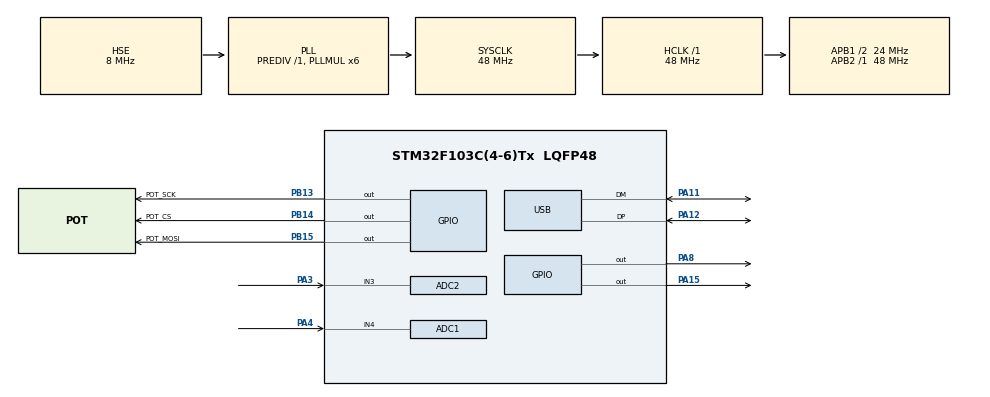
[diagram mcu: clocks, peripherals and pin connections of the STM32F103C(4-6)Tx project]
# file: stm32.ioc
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ADC1.Channel-4\#ChannelRegularConversion=ADC_CHANNEL_4
ADC1.NbrOfConversionFlag=1
ADC1.Rank-4\#ChannelRegularConversion=1
ADC1.SamplingTime-4\#ChannelRegularConversion=ADC_SAMPLETIME_239CYCLES_5
ADC1.master=1
ADC2.Channel-0\#ChannelRegularConversion=ADC_CHANNEL_3
ADC2.NbrOfConversionFlag=1
ADC2.Rank-0\#ChannelRegularConversion=1
ADC2.SamplingTime-0\#ChannelRegularConversion=ADC_SAMPLETIME_239CYCLES_5
Mcu.Family=STM32F1
Mcu.Name=STM32F103C(4-6)Tx
Mcu.Package=LQFP48
NVIC.PriorityGroup=NVIC_PRIORITYGROUP_4
NVIC.TIM3_IRQn=true\:0\:0\:false\:false\:true\:true\:true\:true
NVIC.USB_LP_CAN1_RX0_IRQn=true\:0\:0\:false\:false\:true\:false\:true\:true
NimaLTD.I-CUBE-EE.3.2.2.DriverJjEE=true
PA11.Mode=Device
PA11.Signal=USB_DM
PA12.Mode=Device
PA12.Signal=USB_DP
PA13.Mode=Serial_Wire
PA13.Signal=SYS_JTMS-SWDIO
PA14.Mode=Serial_Wire
PA14.Signal=SYS_JTCK-SWCLK
PA15.PinState=GPIO_PIN_SET
PA15.Signal=GPIO_Output
PA3.Signal=ADCx_IN3
PA4.Signal=ADCx_IN4
PA8.PinState=GPIO_PIN_SET
PA8.Signal=GPIO_Output
PB13.GPIO_Label=POT_SCK
PB13.GPIO_Speed=GPIO_SPEED_FREQ_HIGH
PB13.PinState=GPIO_PIN_RESET
PB13.Signal=GPIO_Output
PB14.GPIO_Label=POT_CS
PB14.GPIO_Speed=GPIO_SPEED_FREQ_HIGH
PB14.PinState=GPIO_PIN_RESET
PB14.Signal=GPIO_Output
PB15.GPIO_Label=POT_MOSI
PB15.GPIO_Speed=GPIO_SPEED_FREQ_HIGH
PB15.PinState=GPIO_PIN_RESET
PB15.Signal=GPIO_Output
PD0-OSC_IN.Mode=HSE-External-Oscillator
PD0-OSC_IN.Signal=RCC_OSC_IN
PD1-OSC_OUT.Mode=HSE-External-Oscillator
PD1-OSC_OUT.Signal=RCC_OSC_OUT
ProjectManager.HeapSize=0x200
ProjectManager.StackSize=0x400
ProjectManager.TargetToolchain=STM32CubeIDE
RCC.ADCPresc=RCC_ADCPCLK2_DIV4
RCC.AHBFreq_Value=48000000
RCC.APB1CLKDivider=RCC_HCLK_DIV2
RCC.APB1Freq_Value=24000000
RCC.APB1TimFreq_Value=48000000
RCC.APB2Freq_Value=48000000
RCC.APB2TimFreq_Value=48000000
RCC.HCLKFreq_Value=48000000
RCC.PLLMUL=RCC_PLL_MUL6
RCC.SYSCLKFreq_VALUE=48000000
RCC.SYSCLKSource=RCC_SYSCLKSOURCE_PLLCLK
RCC.USBFreq_Value=48000000
SH.ADCx_IN3.0=ADC2_IN3,IN3
SH.ADCx_IN4.0=ADC1_IN4,IN4
TIM3.Period=47999
USB_DEVICE.CLASS_NAME_FS=CDC
USB_DEVICE.VirtualMode=Cdc
USB_DEVICE.VirtualModeFS=Cdc_FS
VP_NimaLTD.I-CUBE-EE_VS_DriverJjEE_1.0.0_3.2.2.Mode=DriverJjEE
VP_TIM3_VS_ClockSourceINT.Mode=Internal
VP_USB_DEVICE_VS_USB_DEVICE_CDC_FS.Mode=CDC_FS
board=custom

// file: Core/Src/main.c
/* USER CODE BEGIN Header */
/**
  ******************************************************************************
  * @file           : main.c
  * @brief          : Main program body
  ******************************************************************************
  * @attention
  *
  * Copyright (c) 2026 STMicroelectronics.
  * All rights reserved.
  *
  * This software is licensed under terms that can be found in the LICENSE file
  * in the root directory of this software component.
  * If no LICENSE file comes with this software, it is provided AS-IS.
  *
  ******************************************************************************
  */
/* USER CODE END Header */
#include "main.h"
#include "usb_device.h"

/* USER CODE BEGIN Includes */
#include "usbd_cdc_if.h"
#include "ee.h"
/* USER CODE END Includes */

/* USER CODE BEGIN PTD */
typedef enum {
    SET_OK = 0,
    SET_ERR_TOO_LOW,     // ниже физического минимума платы
    SET_ERR_TOO_HIGH,    // выше физического максимума платы
	SET_ERR_NO_VOLTAGE,		// для напряжения v < 1.0f
    SET_ERR_NO_LOAD       // для тока: I_out1 = 0, сопротивление нагрузки неизвестно
} SetResult_t;

typedef struct {
    float Kp;             // Пропорциональный коэффициент
    float Ki;             // Интегральный коэффициент
    float Kd;             // Дифференциальный коэффициент
    float integrator;     // Накопленная интегральная сумма
    float prev_error;     // Ошибка на предыдущем шаге
    float dt;             // Шаг дискретизации в секундах (ADJUST_INTERVAL_MS / 1000.0)
    float out_min;        // Минимальное ограничение выхода (0.0)
    // Максимальное ограничение выхода (255.0)
    float out_max;
} PID_Controller_t;

#define EE_MAGIC_VALID   0xCAFEBABE   // маркер "данные во flash валидны"

typedef struct {
    uint32_t magic;
    float    voltage_k;
    float    voltage_b;
    float    current_k;
    float    current_b;

    float pid_Kp;
    float pid_Ki;
    float pid_Kd;

    float pid_i_Kp;
    float pid_i_Ki;
    float pid_i_Kd;
} eeStorage_t;

typedef enum {
    REG_NONE = 0,
    REG_VOLTAGE,
    REG_CURRENT
} RegMode_t;

/* USER CODE END PTD */

/* USER CODE BEGIN PD */

//#define POT_STEP            1       // на сколько единиц кода двигаем за один шаг
#define ADJUST_INTERVAL_MS  50     	// как часто подстраиваем (мс)
#define MAX_CAL_POINTS      20		//количество точек для калибровки
#define DIGIT_AFTER_FLOAT   3		//количество знаков посля запятой для вывода

/* USER CODE END PD */

ADC_HandleTypeDef hadc1;
ADC_HandleTypeDef hadc2;
TIM_HandleTypeDef htim3;

/* USER CODE BEGIN PV */
volatile float target_voltage_g = 0.0f;
volatile float target_current_g = 0.0f;
uint8_t current_pot_code = 255;

volatile RegMode_t reg_mode = REG_NONE;

volatile float base_voltage_feedforward = 0.0f;

volatile uint32_t system_ms_ticks   = 0;   // инкрементируется в IRQ каждую 1мс
volatile uint8_t  flag_measure      = 0;   // выставляется в IRQ
volatile uint8_t  flag_report       = 0;   // выставляется в IRQ

// Последние измеренные значения (кэш, чтобы report не делал повторный ADC-опрос)
volatile float last_vsw = 0.0f;
volatile float last_vcu = 0.0f;

float g_voltage_k = 0.9943f;
float g_voltage_b = -0.1782f;
float g_current_k = 0.882f;
float g_current_b = 0.0116f;

eeStorage_t ee_storage = {
    .magic = EE_MAGIC_VALID,
    .voltage_k = 0.9943f,
    .voltage_b = -0.1782f,
    .current_k = 0.882f,
    .current_b = 0.0116f,

    .pid_Kp = 8.0f,
    .pid_Ki = 5.0f,
    .pid_Kd = 0.05f,

    .pid_i_Kp = 4.5f,
    .pid_i_Ki = 6.0f,
    .pid_i_Kd = 0.0f
};

typedef enum {
    CAL_MODE_NONE = 0,
    CAL_MODE_VOLTAGE,
    CAL_MODE_CURRENT
} CalMode_t;

volatile CalMode_t cal_mode = CAL_MODE_NONE;

float   cal_prog_points[MAX_CAL_POINTS];  // измеренные (некалиброванные) значения
float   cal_real_points[MAX_CAL_POINTS];  // эталонные значения от пользователя
uint8_t cal_point_count = 0;

uint8_t g_calibrated = 0;

volatile uint8_t  debug_output_enabled = 0;      // по умолчанию ВЫКЛ
volatile uint32_t debug_report_interval_ms = 1000; // по умолчанию 1 секунда

PID_Controller_t pid_v;
// Стартовые коэффициенты экспериментально
float pid_Kp = 8.0f;
float pid_Ki = 5.0f;
float pid_Kd = 0.05f;

PID_Controller_t pid_i;

float pid_i_Kp = 4.5f;
float pid_i_Ki = 6.0f;
float pid_i_Kd = 0.0f;

/* USER CODE END PV */

void SystemClock_Config(void);
static void MX_GPIO_Init(void);
static void MX_ADC1_Init(void);
static void MX_ADC2_Init(void);
static void MX_TIM3_Init(void);
/* USER CODE BEGIN PFP */
//float ReadVSW_Voltage(void);
float ReadVSW_Voltage_Avg(uint8_t samples);
float ReadVSW_Current_Avg(uint8_t samples);
void SoftSPI_WriteByte(uint8_t data);
void MCP41010_SetWiper(uint8_t value);
void FloatToStr(float value, char *buf, uint8_t decimals);
uint8_t UIntToStr(uint32_t value, char *buf);
void Regulation_Step(void);

void    Startup_ReferenceCalibration(void);      // одноразовая калибровка при старте

SetResult_t ComputeCodeForVoltage(float target_voltage, uint8_t *out_code); // чистый расчёт, без ADC/SPI
SetResult_t SetTargetVoltage(float target_voltage);  // применяется из USB-команды
SetResult_t SetTargetCurrent(float target_current);

void SendVoltageNow(void);   // формирует и шлёт "V=xx.xxxxx\r\n" немедленно
void SendCurrentNow(void);   // формирует и шлёт "I=xx.xxxxx\r\n" немедленно
void SendReportNow(void);    // формирует и шлёт "V=.. I=.." (общая телеметрия)

void    CalStart_Voltage(void);
void    CalStart_Current(void);
uint8_t CalAddPoint_Voltage(float real_value);
uint8_t CalAddPoint_Current(float real_value);
uint8_t CalStop_AndCompute(char *resp, uint8_t *resp_len); // 1=успех, 0=ошибка

void SaveCoefficientsToFlash(void);
void LoadCoefficientsFromFlash(void);

void PrintSavedVoltageCoefficients(void);
void PrintSavedCurrentCoefficients(void);

float PID_Compute(PID_Controller_t *pid, float error, float current_output);
/* USER CODE END PFP */

int main(void)
{

  /* MCU Configuration--------------------------------------------------------*/

  /* Reset of all peripherals, Initializes the Flash interface and the Systick. */
  HAL_Init();

  /* Configure the system clock */
  SystemClock_Config();

  /* Initialize all configured peripherals */
  MX_GPIO_Init();
  MX_ADC1_Init();
  MX_ADC2_Init();
  MX_USB_DEVICE_Init();
  MX_TIM3_Init();
  /* USER CODE BEGIN 2 */
  HAL_ADCEx_Calibration_Start(&hadc1);
  HAL_GPIO_WritePin(GPIOA, GPIO_PIN_8, GPIO_PIN_SET);
  HAL_TIM_Base_Start_IT(&htim3);   // ЗАПУСК прерывания таймера - без этого callback не будет вызываться

  EE_Init(&ee_storage, sizeof(eeStorage_t));   // ОБЯЗАТЕЛЬНО до первого EE_Read/EE_Write
  LoadCoefficientsFromFlash();                  // подхватываем сохранённую калибровку, если есть

  Startup_ReferenceCalibration();

  pid_v.Kp = ee_storage.pid_Kp;
  pid_v.Ki = ee_storage.pid_Ki;
  pid_v.Kd = ee_storage.pid_Kd;
  pid_v.dt = (float)ADJUST_INTERVAL_MS / 1000.0f; // Переводим мс в секунды (0.05s)
  pid_v.integrator = 0.0f;
  pid_v.prev_error = 0.0f;
  pid_v.out_min = 0.0f;
  pid_v.out_max = 255.0f;

  pid_i.Kp = ee_storage.pid_i_Kp;
  pid_i.Ki = ee_storage.pid_i_Ki;
  pid_i.Kd = ee_storage.pid_i_Kd;
  pid_i.dt = (float)ADJUST_INTERVAL_MS / 1000.0f;
  pid_i.integrator = 0.0f;
  pid_i.prev_error = 0.0f;
  pid_i.out_min = 0.0f;
  pid_i.out_max = 255.0f;

  /* USER CODE END 2 */

  /* Infinite loop */
  /* USER CODE BEGIN WHILE */
  while (1)
  {
	  // --- Флаг измерения/регулировки (каждые ADJUST_INTERVAL_MS) ---
	  if (flag_measure)
	  {
		  flag_measure = 0;

		  last_vsw = ReadVSW_Voltage_Avg(32);
		  last_vcu = ReadVSW_Current_Avg(32);

		  // Регулируем, только если сейчас НЕ идёт разовая калибровка
		  Regulation_Step();

	  }

	  // --- Флаг вывода в консоль (раз в 1000 мс) ---
	  if (flag_report)
	  {
		  flag_report = 0;

		  SendReportNow();
	  }

    /* USER CODE END WHILE */

  }
}

void SystemClock_Config(void)
{
  RCC_OscInitTypeDef RCC_OscInitStruct = {0};
  RCC_ClkInitTypeDef RCC_ClkInitStruct = {0};
  RCC_PeriphCLKInitTypeDef PeriphClkInit = {0};

  /** Initializes the RCC Oscillators according to the specified parameters
  * in the RCC_OscInitTypeDef structure.
  */
  RCC_OscInitStruct.OscillatorType = RCC_OSCILLATORTYPE_HSE;
  RCC_OscInitStruct.HSEState = RCC_HSE_ON;
  RCC_OscInitStruct.HSEPredivValue = RCC_HSE_PREDIV_DIV1;
  RCC_OscInitStruct.HSIState = RCC_HSI_ON;
  RCC_OscInitStruct.PLL.PLLState = RCC_PLL_ON;
  RCC_OscInitStruct.PLL.PLLSource = RCC_PLLSOURCE_HSE;
  RCC_OscInitStruct.PLL.PLLMUL = RCC_PLL_MUL6;
  if (HAL_RCC_OscConfig(&RCC_OscInitStruct) != HAL_OK)
  {
    Error_Handler();
  }

  /** Initializes the CPU, AHB and APB buses clocks
  */
  RCC_ClkInitStruct.ClockType = RCC_CLOCKTYPE_HCLK|RCC_CLOCKTYPE_SYSCLK
                              |RCC_CLOCKTYPE_PCLK1|RCC_CLOCKTYPE_PCLK2;
  RCC_ClkInitStruct.SYSCLKSource = RCC_SYSCLKSOURCE_PLLCLK;
  RCC_ClkInitStruct.AHBCLKDivider = RCC_SYSCLK_DIV1;
  RCC_ClkInitStruct.APB1CLKDivider = RCC_HCLK_DIV2;
  RCC_ClkInitStruct.APB2CLKDivider = RCC_HCLK_DIV1;

  if (HAL_RCC_ClockConfig(&RCC_ClkInitStruct, FLASH_LATENCY_1) != HAL_OK)
  {
    Error_Handler();
  }
  PeriphClkInit.PeriphClockSelection = RCC_PERIPHCLK_ADC|RCC_PERIPHCLK_USB;
  PeriphClkInit.AdcClockSelection = RCC_ADCPCLK2_DIV4;
  PeriphClkInit.UsbClockSelection = RCC_USBCLKSOURCE_PLL;
  if (HAL_RCCEx_PeriphCLKConfig(&PeriphClkInit) != HAL_OK)
  {
    Error_Handler();
  }
}

static void MX_ADC1_Init(void)
{

  ADC_ChannelConfTypeDef sConfig = {0};

  /** Common config
  */
  hadc1.Instance = ADC1;
  hadc1.Init.ScanConvMode = ADC_SCAN_DISABLE;
  hadc1.Init.ContinuousConvMode = DISABLE;
  hadc1.Init.DiscontinuousConvMode = DISABLE;
  hadc1.Init.ExternalTrigConv = ADC_SOFTWARE_START;
  hadc1.Init.DataAlign = ADC_DATAALIGN_RIGHT;
  hadc1.Init.NbrOfConversion = 1;
  if (HAL_ADC_Init(&hadc1) != HAL_OK)
  {
    Error_Handler();
  }

  /** Configure Regular Channel
  */
  sConfig.Channel = ADC_CHANNEL_4;
  sConfig.Rank = ADC_REGULAR_RANK_1;
  sConfig.SamplingTime = ADC_SAMPLETIME_239CYCLES_5;
  if (HAL_ADC_ConfigChannel(&hadc1, &sConfig) != HAL_OK)
  {
    Error_Handler();
  }

}

static void MX_ADC2_Init(void)
{

  ADC_ChannelConfTypeDef sConfig = {0};

  /** Common config
  */
  hadc2.Instance = ADC2;
  hadc2.Init.ScanConvMode = ADC_SCAN_DISABLE;
  hadc2.Init.ContinuousConvMode = DISABLE;
  hadc2.Init.DiscontinuousConvMode = DISABLE;
  hadc2.Init.ExternalTrigConv = ADC_SOFTWARE_START;
  hadc2.Init.DataAlign = ADC_DATAALIGN_RIGHT;
  hadc2.Init.NbrOfConversion = 1;
  if (HAL_ADC_Init(&hadc2) != HAL_OK)
  {
    Error_Handler();
  }

  /** Configure Regular Channel
  */
  sConfig.Channel = ADC_CHANNEL_3;
  sConfig.Rank = ADC_REGULAR_RANK_1;
  sConfig.SamplingTime = ADC_SAMPLETIME_239CYCLES_5;
  if (HAL_ADC_ConfigChannel(&hadc2, &sConfig) != HAL_OK)
  {
    Error_Handler();
  }

}

static void MX_TIM3_Init(void)
{

  TIM_ClockConfigTypeDef sClockSourceConfig = {0};
  TIM_MasterConfigTypeDef sMasterConfig = {0};

  htim3.Instance = TIM3;
  htim3.Init.Prescaler = 0;
  htim3.Init.CounterMode = TIM_COUNTERMODE_UP;
  htim3.Init.Period = 47999;
  htim3.Init.ClockDivision = TIM_CLOCKDIVISION_DIV1;
  htim3.Init.AutoReloadPreload = TIM_AUTORELOAD_PRELOAD_DISABLE;
  if (HAL_TIM_Base_Init(&htim3) != HAL_OK)
  {
    Error_Handler();
  }
  sClockSourceConfig.ClockSource = TIM_CLOCKSOURCE_INTERNAL;
  if (HAL_TIM_ConfigClockSource(&htim3, &sClockSourceConfig) != HAL_OK)
  {
    Error_Handler();
  }
  sMasterConfig.MasterOutputTrigger = TIM_TRGO_RESET;
  sMasterConfig.MasterSlaveMode = TIM_MASTERSLAVEMODE_DISABLE;
  if (HAL_TIMEx_MasterConfigSynchronization(&htim3, &sMasterConfig) != HAL_OK)
  {
    Error_Handler();
  }

}

static void MX_GPIO_Init(void)
{
  GPIO_InitTypeDef GPIO_InitStruct = {0};

  /* GPIO Ports Clock Enable */
  __HAL_RCC_GPIOD_CLK_ENABLE();
  __HAL_RCC_GPIOA_CLK_ENABLE();
  __HAL_RCC_GPIOB_CLK_ENABLE();

  /*Configure GPIO pin Output Level */
  HAL_GPIO_WritePin(GPIOB, POT_SCK_Pin|POT_CS_Pin|POT_MOSI_Pin, GPIO_PIN_RESET);

  /*Configure GPIO pin Output Level */
  HAL_GPIO_WritePin(GPIOA, GPIO_PIN_8|GPIO_PIN_15, GPIO_PIN_SET);

  /*Configure GPIO pins : POT_SCK_Pin POT_CS_Pin POT_MOSI_Pin */
  GPIO_InitStruct.Pin = POT_SCK_Pin|POT_CS_Pin|POT_MOSI_Pin;
  GPIO_InitStruct.Mode = GPIO_MODE_OUTPUT_PP;
  GPIO_InitStruct.Pull = GPIO_NOPULL;
  GPIO_InitStruct.Speed = GPIO_SPEED_FREQ_HIGH;
  HAL_GPIO_Init(GPIOB, &GPIO_InitStruct);

  /*Configure GPIO pins : PA8 PA15 */
  GPIO_InitStruct.Pin = GPIO_PIN_8|GPIO_PIN_15;
  GPIO_InitStruct.Mode = GPIO_MODE_OUTPUT_PP;
  GPIO_InitStruct.Pull = GPIO_NOPULL;
  GPIO_InitStruct.Speed = GPIO_SPEED_FREQ_LOW;
  HAL_GPIO_Init(GPIOA, &GPIO_InitStruct);

}

/* USER CODE BEGIN 4 */

/**
  * @brief  Блокирующее ожидание заданного времени на основе счётчика миллисекунд от TIM3.
  * @note   Используется вместо HAL_Delay в местах, где нужен неблокирующий для
  *         прерываний busy-wait, синхронизированный с системным тиком system_ms_ticks.
  * @param  ms Время ожидания, мс.
  * @retval None
  */
static void WaitMs(uint32_t ms)
{
    uint32_t start = system_ms_ticks;
    while ((system_ms_ticks - start) < ms)
    {
        // ждём тиков от прерывания TIM3
    }
}

/**
  * @brief  Callback переполнения таймера, вызывается HAL из прерывания TIM3 каждую 1 мс.
  * @note   увеличивает системный счётчик миллисекунд system_ms_ticks на 1 и выставляет
  *         флаги flag_measure (каждые ADJUST_INTERVAL_MS) и flag_report (при включённом
  *         debug_output_enabled, с периодом debug_report_interval_ms).
  * @param  htim Указатель на структуру-хендл таймера, вызвавшего прерывание.
  * @retval None
  */
void HAL_TIM_PeriodElapsedCallback(TIM_HandleTypeDef *htim)
{
    if (htim->Instance == TIM3)
    {
        system_ms_ticks++;

        if ((system_ms_ticks % ADJUST_INTERVAL_MS) == 0)
        {
            flag_measure = 1;
        }

        if (debug_output_enabled &&
                    (system_ms_ticks % debug_report_interval_ms) == 0)
                {
                    flag_report = 1;
                }
    }
}

/**
  * @brief  Измеряет выходное напряжение VSW усреднением нескольких отсчётов АЦП1 (PA4).
  * @note   Код АЦП пересчитывается в напряжение через делитель напряжения (R2/R5),
  *         затем корректируется калибровочными коэффициентами g_voltage_k/g_voltage_b.
  * @param  samples Количество отсчётов АЦП для усреднения.
  * @retval Измеренное и откалиброванное напряжение, В.
  */
float ReadVSW_Voltage_Avg(uint8_t samples)
{
    uint32_t sum = 0;

    for (uint8_t i = 0; i < samples; i++)
    {
        HAL_ADC_Start(&hadc1);
        HAL_ADC_PollForConversion(&hadc1, 10);
        sum += HAL_ADC_GetValue(&hadc1);
        HAL_ADC_Stop(&hadc1);
    }

    float raw_avg = (float)sum / samples;
    float v_adc = (raw_avg * 3.3f) / 4095.0f;
    float v_sw = v_adc * (180.0f + 15.0f) / 15.0f;

//  return v_sw;
    if (v_sw == 0.0f) return 0.0f;
    return v_sw * g_voltage_k + g_voltage_b;
//  return v_sw * 0.9943f - 0.1782f;
//  return 0.9921f * v_sw - 0.0736f - 0.08f;
//  return 0.000804f * v_sw * v_sw + 0.965f * v_sw + 0.069;
//  return v_sw * 0.994f - 0.182f;
}

/**
  * @brief  Измеряет выходной ток нагрузки усреднением нескольких отсчётов АЦП2 (PA3).
  * @note   Код АЦП пересчитывается в ток через усилитель тока INA180A4 и токовый шунт,
  *         затем корректируется калибровочными коэффициентами g_current_k/g_current_b.
  * @param  samples Количество отсчётов АЦП для усреднения.
  * @retval Измеренный и откалиброванный ток, А.
  */
float ReadVSW_Current_Avg(uint8_t samples)
{
    uint32_t sum = 0;

    for (uint8_t i = 0; i < samples; i++)
    {
        HAL_ADC_Start(&hadc2);
        HAL_ADC_PollForConversion(&hadc2, 10);
        sum += HAL_ADC_GetValue(&hadc2);
        HAL_ADC_Stop(&hadc2);
    }

    float raw_avg = (float)sum / samples;
    float v_adc = (raw_avg * 3.3f) / 4095.0f;
    float c_sw = v_adc / (200.0f * 0.005f);

//    return c_sw;
    if (c_sw == 0.0f) return 0.0f;
    return c_sw * g_current_k + g_current_b;
//    return c_sw * 0.882f + 0.0116f;
//    return -0.208f * c_sw *c_sw + 1.005f * c_sw - 0.00341f;
//    return c_sw * 0.8715f + 0.017;
}

/**
  * @brief  Короткая программная задержка между фронтами программного SPI.
  * @note   Используется в SoftSPI_WriteByte для формирования корректных по
  *         длительности импульсов SCK при программной реализации SPI на GPIO.
  * @retval None
  */
static inline void SoftSPI_Delay(void)
{
    __NOP(); __NOP(); __NOP(); __NOP();
}

/**
  * @brief  Передаёт один байт по программному SPI (bit-bang), режим Mode 0 (CPOL=0, CPHA=0).
  * @note   Используется для связи с цифровым потенциометром MCP41010, так как на
  *         STM32F103C6T6 отсутствует аппаратный SPI2 (доступен только SPI1 на других пинах).
  * @param  data Байт данных для передачи, бит выставляется начиная со старшего (MSB first).
  * @retval None
  */
void SoftSPI_WriteByte(uint8_t data)
{
    for (uint8_t i = 0; i < 8; i++)
    {
        // Выставляем бит (MSB первый) пока SCK низкий
        if (data & 0x80)
            HAL_GPIO_WritePin(POT_MOSI_GPIO_Port, POT_MOSI_Pin, GPIO_PIN_SET);
        else
            HAL_GPIO_WritePin(POT_MOSI_GPIO_Port, POT_MOSI_Pin, GPIO_PIN_RESET);

        SoftSPI_Delay();

        // Передний фронт SCK — приёмник (MCP41010) защёлкивает бит
        HAL_GPIO_WritePin(POT_SCK_GPIO_Port, POT_SCK_Pin, GPIO_PIN_SET);
        SoftSPI_Delay();

        // Спад SCK — готовим следующий бит
        HAL_GPIO_WritePin(POT_SCK_GPIO_Port, POT_SCK_Pin, GPIO_PIN_RESET);

        data <<= 1;
    }
}

/**
  * @brief  Устанавливает положение (код 0..255) цифрового потенциометра MCP41010.
  * @note   Формирует SPI-транзакцию из командного байта записи в Pot0 (0x11) и байта
  *         данных, обрамлённую низким уровнем сигнала POT_CS на время передачи.
  * @param  value Код положения потенциометра, 0..255.
  * @retval None
  */
void MCP41010_SetWiper(uint8_t value)
{
    HAL_GPIO_WritePin(POT_CS_GPIO_Port, POT_CS_Pin, GPIO_PIN_RESET); // CS -> low

    SoftSPI_WriteByte(0x11);   // Command: write Pot0
    SoftSPI_WriteByte(value);  // Data: 0x00..0xFF

    HAL_GPIO_WritePin(POT_CS_GPIO_Port, POT_CS_Pin, GPIO_PIN_SET);   // CS -> high
}

/**
  * @brief  Преобразует беззнаковое целое число в десятичную строку без использования stdio.h.
  * @param  value Число для преобразования.
  * @param  buf   Буфер для результата (без завершающего нулевого символа).
  * @retval Количество записанных в buf символов.
  */
uint8_t UIntToStr(uint32_t value, char *buf)
{
    char tmp[10];
    uint8_t len = 0;

    if (value == 0)
    {
        buf[0] = '0';
        return 1;
    }

    while (value > 0)
    {
        tmp[len++] = '0' + (value % 10);
        value /= 10;
    }

    // Разворачиваем (т.к. цифры получены в обратном порядке)
    for (uint8_t i = 0; i < len; i++)
    {
        buf[i] = tmp[len - 1 - i];
    }

    return len;
}

/**
  * @brief  Форматирует число с плавающей точкой в строку с фиксированным числом знаков
  *         после запятой, без использования printf/sprintf из stdio.h.
  * @note   Поддерживает отрицательные значения и корректно обрабатывает перенос при
  *         округлении дробной части (например, 0.9999 при decimals=3 даёт "1.000").
  * @param  value    Значение для форматирования.
  * @param  buf      Буфер для результирующей, завершённой нулём строки.
  * @param  decimals Количество знаков после запятой.
  * @retval None
  */
void FloatToStr(float value, char *buf, uint8_t decimals)
{
    if (value < 0)
    {
        *buf++ = '-';
        value = -value;
    }

    int32_t int_part = (int32_t)value;
    float frac = value - (float)int_part;

    uint32_t scale = 1;
    for (uint8_t i = 0; i < decimals; i++) scale *= 10;

    int32_t frac_part = (int32_t)(frac * scale + 0.5f);

    // Перенос при округлении (например 0.9999 -> 1.000)
    if (frac_part >= (int32_t)scale)
    {
        frac_part -= (int32_t)scale;
        int_part += 1;
    }

    // Целая часть
    uint8_t pos = UIntToStr((uint32_t)int_part, buf);
    buf[pos++] = '.';

    // Дробная часть с ведущими нулями
    char frac_str[10];
    uint8_t frac_len = UIntToStr((uint32_t)frac_part, frac_str);

    for (uint8_t i = frac_len; i < decimals; i++)
    {
        buf[pos++] = '0';
    }

    memcpy(&buf[pos], frac_str, frac_len);
    buf[pos + frac_len] = '\0';
}

/**
  * @brief  Исполнительный шаг алгоритма стабилизации (вызывается циклически)
  * @note  В режиме REG_NONE регулирование отключено
  * В режиме REG_VOLTAGE рассчитывает ошибку рассогласования относительно заданного target_voltage
  * и вычисляет управляющее воздействие с помощью ПИД-структуры напряжения.
  * В режиме REG_CURRENT рассчитывает ошибку рассогласования относительно заданного target_current
  * и вычисляет управляющее воздействие с помощью ПИД-структуры тока.
  * @retval None
  */
void Regulation_Step(void)
{
	if (reg_mode == REG_NONE)
	{
		return;
	}

	if (reg_mode == REG_VOLTAGE)
	{
		float error = target_voltage_g - last_vsw;

		// Для напряжения ПИД вычисляет смещение кода потенциометра напрямую
		float pid_output = PID_Compute(&pid_v, error, (float)current_pot_code);
		float next_code = (float)current_pot_code - pid_output;

		if (next_code < pid_v.out_min) next_code = pid_v.out_min;
		if (next_code > pid_v.out_max) next_code = pid_v.out_max;

		current_pot_code = (uint8_t)next_code;
		MCP41010_SetWiper(current_pot_code);
	}
	else if (reg_mode == REG_CURRENT) // РЕГУЛИРОВАНИЕ ТОКА (как в working.c)
	{
		if (last_vcu < 0.002f)
		{
			pid_i.integrator = 0.0f;
			return;
		}
		float error = target_current_g - last_vcu;

		// Пропорциональная часть (Kp * error)
//		float p_term = pid_i.Kp * active_error;
		float p_term = pid_i.Kp * error;
		// Временный расчет следующего значения интеграла (шаг интегрирования dt = 0.05s)
//		float next_integrator = pid_i.integrator + active_error * pid_i.dt;
//		float next_integrator = pid_i.integrator + error * pid_i.dt;
		float next_integrator = pid_i.integrator + error * pid_i.dt;
		float i_term = pid_i.Ki * next_integrator;

		// Дифференциальная часть (при необходимости, если Kd != 0)
//		float d_term = pid_i.Kd * (active_error - pid_i.prev_error) / pid_i.dt;
//		float d_term = pid_i.Kd * (error - pid_i.prev_error) / pid_i.dt;
//		pid_i.prev_error = active_error;
//		pid_i.prev_error = error;
		// Расчет коррекции напряжения
//		float voltage_correction = p_term + i_term + d_term;
		float voltage_correction = p_term + i_term;

		// Результирующее требуемое напряжение
		float v_result = base_voltage_feedforward + voltage_correction;

		// Жесткие рамки напряжения как в рабочем working.c (12.25V ... 24.0V)
		// Защита Anti-windup: сохраняем интеграл только если напряжение не уперлось в рамки
		if (v_result >= 12.25f && v_result <= 24.0f)
		{
			pid_i.integrator = next_integrator;
		}
		else
		{
		if (v_result < 12.25f) v_result = 12.25f;
		if (v_result > 24.0f) v_result = 24.0f;
		}
		float load = 1.25f * 180000.0f / (v_result - 1.25f) - 10000.0f;
		int16_t pot;

		if (load < 0.0f){ pot = 0;}

		else if (load > 10000.0f) {pot = 255;}
		else
		{
			pot = (int16_t)((load) * 256.0f / 10000.0f) - 2;
			if (pot < 0.0f) pot = 0.0f;
			if (pot > 255.0f) pot = 255.0f;
		}

		current_pot_code = (uint8_t)pot;
		MCP41010_SetWiper(current_pot_code);
//		uint8_t next_code = current_pot_code;
//		if (ComputeCodeForVoltage(v_result, &next_code) == SET_OK)
//		{
//			current_pot_code = next_code;
//			MCP41010_SetWiper(current_pot_code);
//		}
	}

}

/**
  * @brief  Установка потенциометра в код 255 при старте МК.
  * @note   None
  * @retval None
  */
void Startup_ReferenceCalibration(void)
{
    // 1. Ставим код 255
    MCP41010_SetWiper(255);
    current_pot_code = 255;
    WaitMs(150); // даём преобразователю установиться

    g_calibrated = 1;

    // Кэшируем текущие измерения
    last_vsw = ReadVSW_Voltage_Avg(32);
    last_vcu = ReadVSW_Current_Avg(32);
}

/**
  * @brief  Рассчитывает код потенциометра, необходимый для получения целевого VSW.
  * @note   Расчёт ведётся аналитически
  * @param  target_voltage Целевое выходное напряжение, В.
  * @param  out_code       Указатель, куда записывается рассчитанный код (0..255).
  * @retval SET_OK при успешном расчёте; SET_ERR_TOO_LOW/SET_ERR_TOO_HIGH, если целевое
  *         напряжение вне физически достижимого диапазона.
  */
SetResult_t ComputeCodeForVoltage(float target_voltage, uint8_t *out_code)
{
    if (!g_calibrated)
    {
    //    return current_pot_code; // калибровка ещё не выполнена - не трогаем
    	*out_code = current_pot_code;
    	return SET_OK;
    }

    if (target_voltage <= 1.25f)
	{
		return SET_ERR_TOO_LOW;
	}

    float Rb_target = 180000.0f * 1.25f / (target_voltage - 1.25f) - 10000.0f;

    if (Rb_target < 0.0f)
	{
		return SET_ERR_TOO_HIGH; // Вольтаж слишком высокий (сопротивление ушло ниже нуля)
	}
	if (Rb_target > 10000.0f)
	{
		return SET_ERR_TOO_LOW; // Вольтаж слишком низкий (сопротивление превысило предел)
	}

    int16_t code_f = (int16_t)((Rb_target) * 256.0f / 10000.0f - 2);
 // code_f = (code_f - 10);
//
    if (code_f < 0.0f)   code_f = 0.0f;
    if (code_f > 255.0f) code_f = 255.0f;

    code_f = (uint8_t)code_f;

    *out_code = code_f;
    return SET_OK;
}

/**
  * @brief  Устанавливает целевое выходное напряжение и включает автоматическое регулирование.
  * @note   Проверяет аварийное состояние платы (последнее измеренное VSW ниже 1.25В),
  *         рассчитывает и применяет код потенциометра через ComputeCodeForVoltage;
  *         точная доводка до целевого значения выполняется фоновым циклом
  *         VoltageRegulation_Step. При ошибке состояние платы не изменяется.
  * @param  target_voltage Целевое выходное напряжение, В.
  * @retval SET_OK при успешном применении; иначе код ошибки SetResult_t
  */
SetResult_t SetTargetVoltage(float target_voltage)
{
	// Аварийная проверка: если на плате вообще пропало напряжение
	if (last_vsw < 1.25f)
	{
		return SET_ERR_NO_VOLTAGE;
	}

	uint8_t local_code = 0;
	SetResult_t calc_result = ComputeCodeForVoltage(target_voltage, &local_code);
	// Проверка границ ДО любых изменений на плате
	if (calc_result != SET_OK)
	{
		return calc_result;
	}
    target_voltage_g = target_voltage;

//    uint8_t code = ComputeCodeForVoltage(target_voltage);
    current_pot_code = local_code;
    MCP41010_SetWiper(current_pot_code);      // мгновенный прыжок близко к цели, БЕЗ сброса в минимум

    pid_v.integrator = 0.0f;
	pid_v.prev_error = 0.0f;

	reg_mode = REG_VOLTAGE;        // дальше Regulation_Step доводит точность

    return SET_OK;
}

/**
  * @brief  Устанавливает целевой выходной ток через пересчёт в эквивалентное напряжение.
  * @note   Сопротивление нагрузки вычисляется по последним измеренным значениям
  *         (R = last_vsw / last_vcu), расчитывает необходимое стартовое напряжение
  *         и ставит соответствующее значение потенциометра
  *         После этого управление передается контуру ПИД-регулирования тока.
  * @param  target_current Целевой выходной ток, А (> 0).
  * @retval SET_OK при успехе; SET_ERR_NO_LOAD, если последний измеренный ток равен 0
  *         (сопротивление нагрузки неизвестно); иные коды ошибок в ComputeCodeForVoltage.
  */
SetResult_t SetTargetCurrent(float target_current)
{
	if (target_current <= 0.0f)
	{
		return SET_ERR_TOO_LOW;   // отрицательный/нулевой ток - тоже "нет тока"
	}
    float I_out1 = last_vcu;   // последний измеренный ток
    float V_out1 = last_vsw;   // последнее измеренное напряжение

    // Защита от деления на ноль / отсутствия нагрузки
    if (I_out1 <= 0.0001f)
    {
        return SET_ERR_NO_LOAD; // I_out1 = 0 -> ничего не делаем, как и требовалось
    }

    float R_load = V_out1 / I_out1;

    float V_guess = target_current * R_load;
    if (V_guess < 12.5f)
    {
        V_guess = 12.5f;
    }
    else if (V_guess > 23.2f) V_guess = 23.2;

    uint8_t local_code = 0;
    SetResult_t calc_result = ComputeCodeForVoltage(V_guess, &local_code);
    if (calc_result != SET_OK)
    {
	   // Даже приблизительно недостижимо - отказываем, ничего не меняем
	   return calc_result;
    }

    target_current_g = target_current;
    base_voltage_feedforward = V_guess;

    current_pot_code = local_code;
    MCP41010_SetWiper(current_pot_code);   // быстрый начальный прыжок близко к цели

   // Сброс интегратора/дифференциатора контура тока при каждой новой цели
    pid_i.integrator = 0.0f;
    pid_i.prev_error = 0.0f;

    reg_mode = REG_CURRENT;   // дальше Regulation_Step (контур ТОКА) следит за last_vcu
							  // и сам подстраивает код при любом изменении нагрузки
    return SET_OK;
}

/**
  * @brief  Немедленно формирует и отправляет по USB CDC строку с текущим напряжением.
  * @note   Формат сообщения: "V=<знач>V\r\n". Источник данных — кэш last_vsw.
  * @retval None
  */
void SendVoltageNow(void)
{
    char v_str[16];
    FloatToStr(last_vsw, v_str, DIGIT_AFTER_FLOAT);

    char msg[32];
    uint8_t pos = 0;
    msg[pos++] = 'V'; msg[pos++] = '=';
    memcpy(&msg[pos], v_str, strlen(v_str)); pos += strlen(v_str);
    msg[pos++] = 'V';
    msg[pos++] = '\r'; msg[pos++] = '\n';

    CDC_Transmit_FS_Blocking((uint8_t*)msg, pos, 50);
}

/**
  * @brief  Немедленно формирует и отправляет по USB CDC строку с текущим током.
  * @note   Формат сообщения: "I=<знач>A\r\n". Источник данных — кэш last_vcu.
  * @retval None
  */
void SendCurrentNow(void)
{
    char i_str[16];
    FloatToStr(last_vcu, i_str, DIGIT_AFTER_FLOAT);

    char msg[32];
    uint8_t pos = 0;
    msg[pos++] = 'I'; msg[pos++] = '=';
    memcpy(&msg[pos], i_str, strlen(i_str)); pos += strlen(i_str);
    msg[pos++] = 'A';
    msg[pos++] = '\r'; msg[pos++] = '\n';

    CDC_Transmit_FS_Blocking((uint8_t*)msg, pos, 50);
}

/**
  * @brief  Формирует и отправляет по USB CDC общий отчёт по напряжению и току.
  * @note   Формат сообщения: "V=<знач>V I=<знач>A\r\n". Вызывается по флагу flag_report,
  *         выставляемому в HAL_TIM_PeriodElapsedCallback при включённом периодическом
  *         отладочном выводе (debug_output_enabled).
  * @retval None
  */
void SendReportNow(void)
{
    char v_str[16], i_str[16];
    FloatToStr(last_vsw, v_str, DIGIT_AFTER_FLOAT);
    FloatToStr(last_vcu, i_str, DIGIT_AFTER_FLOAT);

    char msg[64];
    uint8_t pos = 0;
    msg[pos++] = 'V'; msg[pos++] = '=';
    memcpy(&msg[pos], v_str, strlen(v_str)); pos += strlen(v_str);
    msg[pos++] = 'V'; msg[pos++] = ' ';
    msg[pos++] = 'I'; msg[pos++] = '=';
    memcpy(&msg[pos], i_str, strlen(i_str)); pos += strlen(i_str);
    msg[pos++] = 'A';
    msg[pos++] = '\r'; msg[pos++] = '\n';

    CDC_Transmit_FS_Blocking((uint8_t*)msg, pos, 50);
}

/**
  * @brief  Решает задачу линейной аппроксимации real = k*prog + b методом наименьших
  *         квадратов (аналитическое решение системы нормальных уравнений методом Крамера).
  * @param  prog  Массив "программных" (некалиброванных) измеренных значений.
  * @param  real  Массив соответствующих реальных значений.
  * @param  n     Количество точек в массивах prog и real.
  * @param  out_k Указатель, куда записывается рассчитанный коэффициент наклона k.
  * @param  out_b Указатель, куда записывается рассчитанный коэффициент смещения b.
  * @retval 1 при успешном расчёте; 0, если точек меньше двух либо система вырождена
  *         (все точки имеют одинаковое prog-значение).
  */
static uint8_t SolveLinearFit(float *prog, float *real, uint8_t n, float *out_k, float *out_b)
{
    if (n < 2) return 0;

    float Sx = 0.0f, Sy = 0.0f, Sxx = 0.0f, Sxy = 0.0f;

    for (uint8_t i = 0; i < n; i++)
    {
        Sx  += prog[i];
        Sy  += real[i];
        Sxx += prog[i] * prog[i];
        Sxy += prog[i] * real[i];
    }

    float det = Sxx * (float)n - Sx * Sx;

    // Вырожденный случай (все точки с одинаковым prog) - защищаемся
    if (det < 0.000001f && det > -0.000001f)
    {
        return 0;
    }

    *out_k = (Sxy * (float)n - Sx * Sy) / det;
    *out_b = (Sxx * Sy - Sx * Sxy) / det;

    return 1;
}

/**
  * @brief  Переводит канал измерения напряжения в режим сбора калибровочных точек.
  * @note   Временно обнуляет g_voltage_k/g_voltage_b (k=1, b=0) для получения "сырых"
  *         показаний на время калибровки и очищает буфер точек cal_point_count.
  * @retval None
  */
void CalStart_Voltage(void)
{
    g_voltage_k = 1.0f;   // обнуляем - на время калибровки считываем "сырые" значения
    g_voltage_b = 0.0f;
    cal_mode = CAL_MODE_VOLTAGE;
    cal_point_count = 0;
}

/**
  * @brief  Переводит канал измерения тока в режим сбора калибровочных точек.
  * @note   Временно обнуляет g_current_k/g_current_b (k=1, b=0) для получения "сырых"
  *         показаний на время калибровки и очищает буфер точек cal_point_count.
  * @retval None
  */
void CalStart_Current(void)
{
    g_current_k = 1.0f;
    g_current_b = 0.0f;
    cal_mode = CAL_MODE_CURRENT;
    cal_point_count = 0;
}

/**
  * @brief  Добавляет одну калибровочную точку для канала напряжения.
  * @note   В качестве "программного" значения используется текущий кэш last_vsw,
  *         снятый при коэффициентах k=1, b=0, установленных в CalStart_Voltage.
  * @param  real_value Эталонное значение напряжения (например, от внешнего мультиметра), В.
  * @retval 1, если точка успешно добавлена; 0, если режим калибровки напряжения не
  *         активен либо буфер точек уже заполнен >= MAX_CAL_POINTS
  */
uint8_t CalAddPoint_Voltage(float real_value)
{
    if (cal_mode != CAL_MODE_VOLTAGE) return 0;
    if (cal_point_count >= MAX_CAL_POINTS) return 0;

    cal_prog_points[cal_point_count] = last_vsw;  // текущее (некалиброванное, k=1,b=0) измерение
    cal_real_points[cal_point_count] = real_value;
    cal_point_count++;

    return 1;
}

/**
  * @brief  Добавляет одну калибровочную точку для канала тока.
  * @note   В качестве "программного" значения используется текущий кэш last_vcu,
  *         снятый при коэффициентах k=1, b=0, установленных в CalStart_Current.
  * @param  real_value Эталонное значение тока (например, от внешнего мультиметра), А.
  * @retval 1, если точка успешно добавлена; 0, если режим калибровки тока не
  *         активен либо буфер точек уже заполнен >= MAX_CAL_POINTS
  */
uint8_t CalAddPoint_Current(float real_value)
{
    if (cal_mode != CAL_MODE_CURRENT) return 0;
    if (cal_point_count >= MAX_CAL_POINTS) return 0;

    cal_prog_points[cal_point_count] = last_vcu;
    cal_real_points[cal_point_count] = real_value;
    cal_point_count++;

    return 1;
}

/**
  * @brief  Завершает текущий режим калибровки: рассчитывает и применяет новые
  *         коэффициенты, сохраняет их во Flash-память и формирует текстовый ответ.
  * @note   Расчёт выполняется функцией SolveLinearFit по накопленным точкам.
  *         При успехе автоматически вызывает SaveCoefficientsToFlash().
  * @param  resp     Буфер для строки ответа (минимум 96 байт).
  * @param  resp_len Указатель, куда записывается фактическая длина сформированного ответа.
  * @retval 1 при успешном расчёте; 0, если данных недостаточно (см. SolveLinearFit).
  */
uint8_t CalStop_AndCompute(char *resp, uint8_t *resp_len)
{
    float k = 0.0f, b = 0.0f;
    uint8_t ok = SolveLinearFit(cal_prog_points, cal_real_points, cal_point_count, &k, &b);

    uint8_t pos = 0;

    if (!ok)
    {
        const char msg[] = "ERR CAL FAILED (need >=2 distinct points)\r\n";
        memcpy(resp, msg, strlen(msg));
        pos = strlen(msg);

        cal_mode = CAL_MODE_NONE;
        cal_point_count = 0;

        *resp_len = pos;
        return 0;
    }

    if (cal_mode == CAL_MODE_VOLTAGE)
    {
        g_voltage_k = k;
        g_voltage_b = b;

        SaveCoefficientsToFlash();

        const char p1[] = "NEW COEFFS: g_voltage_k = ";
        memcpy(&resp[pos], p1, strlen(p1)); pos += strlen(p1);

        char kstr[16];
        FloatToStr(k, kstr, 4);
        memcpy(&resp[pos], kstr, strlen(kstr)); pos += strlen(kstr);

        const char p2[] = "f; g_voltage_b = ";
        memcpy(&resp[pos], p2, strlen(p2)); pos += strlen(p2);

        char bstr[16];
        FloatToStr(b, bstr, 4);
        memcpy(&resp[pos], bstr, strlen(bstr)); pos += strlen(bstr);

        const char p3[] = "f;\r\n";
        memcpy(&resp[pos], p3, strlen(p3)); pos += strlen(p3);
    }
    else if (cal_mode == CAL_MODE_CURRENT)
    {
        g_current_k = k;
        g_current_b = b;

        SaveCoefficientsToFlash();

        const char p1[] = "NEW COEFFS: g_current_k = ";
        memcpy(&resp[pos], p1, strlen(p1)); pos += strlen(p1);

        char kstr[16];
        FloatToStr(k, kstr, 4);
        memcpy(&resp[pos], kstr, strlen(kstr)); pos += strlen(kstr);

        const char p2[] = "f; g_current_b = ";
        memcpy(&resp[pos], p2, strlen(p2)); pos += strlen(p2);

        char bstr[16];
        FloatToStr(b, bstr, 4);
        memcpy(&resp[pos], bstr, strlen(bstr)); pos += strlen(bstr);

        const char p3[] = "f;\r\n";
        memcpy(&resp[pos], p3, strlen(p3)); pos += strlen(p3);
    }

    cal_mode = CAL_MODE_NONE;
    cal_point_count = 0;

    *resp_len = pos;
    return 1;
}

/**
  * @brief  Сохраняет текущие калибровочные коэффициенты во Flash-память (EEPROM emulation).
  * @note   Записывает структуру ee_storage целиком (с установленным маркером
  *         EE_MAGIC_VALID) через библиотеку NimaLTD I-CUBE-EE; сопровождается
  *         стиранием страницы Flash, зарезервированной под хранение (см. EE_Write).
  * @retval None
  */
void SaveCoefficientsToFlash(void)
{
    ee_storage.magic      = EE_MAGIC_VALID;
    ee_storage.voltage_k  = g_voltage_k;
    ee_storage.voltage_b  = g_voltage_b;
    ee_storage.current_k  = g_current_k;
    ee_storage.current_b  = g_current_b;

    ee_storage.pid_Kp     = pid_v.Kp;
	ee_storage.pid_Ki     = pid_v.Ki;
	ee_storage.pid_Kd     = pid_v.Kd;

	ee_storage.pid_i_Kp   = pid_i.Kp;
	ee_storage.pid_i_Ki   = pid_i.Ki;
	ee_storage.pid_i_Kd   = pid_i.Kd;

    EE_Write();   // стирает страницу и записывает всю структуру целиком
}

/**
  * @brief  Загружает ранее сохранённые калибровочные коэффициенты из Flash-памяти.
  * @note None
  * @retval None
  */
void LoadCoefficientsFromFlash(void)
{
    EE_Read();

    if (ee_storage.magic == EE_MAGIC_VALID)
    {
        // Во flash есть валидные ранее сохранённые коэффициенты - используем их
        g_voltage_k = ee_storage.voltage_k;
        g_voltage_b = ee_storage.voltage_b;
        g_current_k = ee_storage.current_k;
        g_current_b = ee_storage.current_b;

        pid_v.Kp = ee_storage.pid_Kp;
		pid_v.Ki = ee_storage.pid_Ki;
		pid_v.Kd = ee_storage.pid_Kd;

		pid_i.Kp = ee_storage.pid_i_Kp;
		pid_i.Ki = ee_storage.pid_i_Ki;
		pid_i.Kd = ee_storage.pid_i_Kd;
    }
    // Если magic не совпал (чистый/новый чип, либо страница ещё не записана) -
    // просто оставляем значения по умолчанию, заданные при объявлении g_voltage_k и т.д.
}

/**
  * @brief  Считывает и отправляет по USB CDC содержимое сохранённых во Flash коэффициентов.
  * @note   Используется командой get_cv.
  * @retval None
  */
void PrintSavedVoltageCoefficients(void)
{
    // 1. Принудительно вычитываем актуальное состояние Flash в структуру ee_storage
    EE_Read();

    char msg[128];
    uint8_t pos = 0;

    // Заголовок сообщения
    const char header[] = "--- STORED COEFFS ---\r\n";
    memcpy(&msg[pos], header, strlen(header)); pos += strlen(header);

    // Буферы под строки для float значений
    char vk_str[16], vb_str[16];

    // Преобразуем коэффициенты в строки с 4 знаками после запятой
    FloatToStr(ee_storage.voltage_k, vk_str, 4);
    FloatToStr(ee_storage.voltage_b, vb_str, 4);

    // Сборка итогового текста "склеиванием" строк через memcpy
    // Напряжение:
    const char v_text[] = "Voltage: k=";
    memcpy(&msg[pos], v_text, strlen(v_text)); pos += strlen(v_text);
    memcpy(&msg[pos], vk_str, strlen(vk_str)); pos += strlen(vk_str);
    msg[pos++] = ' '; msg[pos++] = 'b'; msg[pos++] = '=';
    memcpy(&msg[pos], vb_str, strlen(vb_str)); pos += strlen(vb_str);
    msg[pos++] = '\r'; msg[pos++] = '\n';

    // Конечный символ переноса
    msg[pos++] = '\r'; msg[pos++] = '\n';

    // Отправляем собранную строку в порт USB
    CDC_Transmit_FS_Blocking((uint8_t*)msg, pos, 50);
}

/**
  * @brief  Считывает и отправляет по USB CDC содержимое сохранённых во Flash коэффициентов.
  * @note   Используется командой get_ci.
  * @retval None
  */
void PrintSavedCurrentCoefficients(void)
{
    // 1. Принудительно вычитываем актуальное состояние Flash в структуру ee_storage
    EE_Read();

    char msg[128];
    uint8_t pos = 0;

    // Заголовок сообщения
    const char header[] = "--- STORED COEFFS ---\r\n";
    memcpy(&msg[pos], header, strlen(header)); pos += strlen(header);

    // Буферы под строки для float значений
    char ik_str[16], ib_str[16];

    // Преобразуем коэффициенты в строки с 4 знаками после запятой
    FloatToStr(ee_storage.current_k, ik_str, 4);
    FloatToStr(ee_storage.current_b, ib_str, 4);

    // Ток:
    const char i_text[] = "Current: k=";
    memcpy(&msg[pos], i_text, strlen(i_text)); pos += strlen(i_text);
    memcpy(&msg[pos], ik_str, strlen(ik_str)); pos += strlen(ik_str);
    msg[pos++] = ' '; msg[pos++] = 'b'; msg[pos++] = '=';
    memcpy(&msg[pos], ib_str, strlen(ib_str)); pos += strlen(ib_str);
    msg[pos++] = '\r'; msg[pos++] = '\n';

    // Конечный символ переноса
    msg[pos++] = '\r'; msg[pos++] = '\n';

    // Отправляем собранную строку в порт USB
    CDC_Transmit_FS_Blocking((uint8_t*)msg, pos, 50);
}

/**
  * @brief  Вычисляет управляющее воздействие по алгоритму ПИД-регулирования.
  * @note   Реализует расчет пропорциональной, интегральной и дифференциальной составляющих.
  *         Включает в себя двухступенчатую защиту от интегрального насыщения (Anti-windup):
  *         1. Условное прекращение интегрирования (Clamping), если исполнительный орган
  *            (`current_output`) уже достиг своих физических технологических границ (`out_max`/`out_min`).
  *         2. Жесткое ограничение (насыщение) самого накопителя интегратора диапазоном [-50.0, 50.0].
  * @param  pid            Указатель на структуру с коэффициентами и внутренним состоянием ПИД-регулятора.
  * @param  error          Текущая ошибка регулирования (рассогласование между целью и фактом).
  * @param  current_output Текущий установленный код/значение на исполнительном органе (например, код потенциометра).
  * @retval float          Рассчитанная величина коррекции (управляющее воздействие).
  */
float PID_Compute(PID_Controller_t *pid, float error, float current_output)
{
    // 1. Пропорциональная составляющая
    float p_term = pid->Kp * error;

    // 2. Интегральная составляющая с защитой от насыщения (Anti-windup)
        // Накапливаем интеграл только если потенциометр еще НЕ уперся в физический предел
        if (!((current_output >= pid->out_max && error < 0.0f) || (current_output <= pid->out_min && error > 0.0f)))
        {
            pid->integrator += error * pid->dt;
        }

        // Мягко ограничиваем вклад интегратора (clamping)
        float int_limit = 50.0f;
        if (pid->integrator > int_limit)  pid->integrator = int_limit;
        if (pid->integrator < -int_limit) pid->integrator = -int_limit;

        float i_term = pid->Ki * pid->integrator;

        // 3. Дифференциальная составляющая
        float d_term = pid->Kd * (error - pid->prev_error) / pid->dt;
        pid->prev_error = error;

        return p_term + i_term + d_term;
}

/* USER CODE END 4 */

void Error_Handler(void)
{
  __disable_irq();
  while (1)
  {
  }
}
